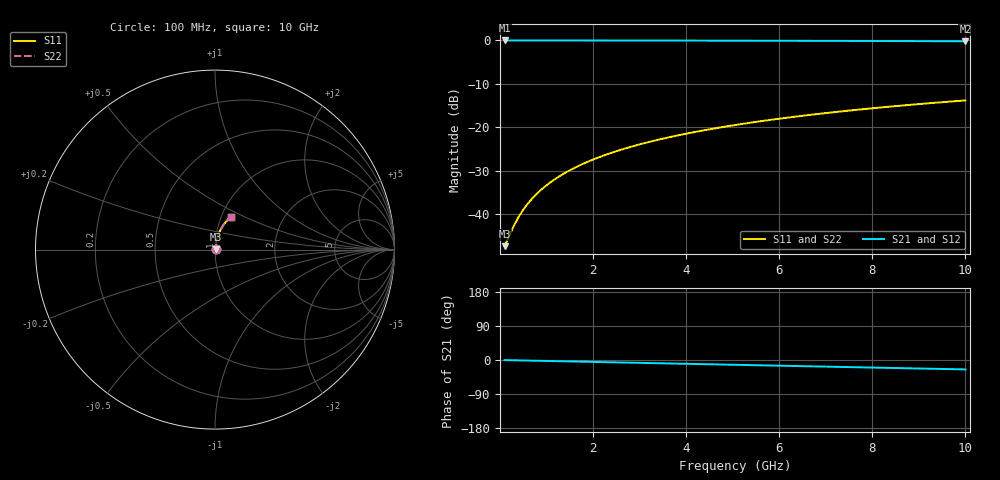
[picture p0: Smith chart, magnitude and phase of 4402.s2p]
# Hz S RI R 50.00
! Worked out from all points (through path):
!   100 points, 100 MHz to 10 GHz, reference 50 ohm
!   highest |S21| = -0.03 dB at 100 MHz (marker M1); lowest = -0.2 dB at 10 GHz (marker M2)
!   group delay of S21, straight-line fit = 6.91 ps
!   lowest |S11| = -47.3 dB at 100 MHz (marker M3), VSWR 1.01, Z = 50.4 + j0.213 ohm
!   |S11| at or under -10 dB: start of sweep to end of sweep
!   |S22| runs from -47.3 to -13.8 dB; largest |S21 - S12| = 0
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1e8  0.00377 0.00211  0.9962 -0.00437  0.9962 -0.00437  0.00377 0.00211
3e8  0.00388 0.00633  0.9961 -0.0131  0.9961 -0.0131  0.00388 0.00633
4e8  0.00396 0.00844  0.996 -0.0175  0.996 -0.0175  0.00396 0.00844
5e8  0.00406 0.0106  0.9959 -0.0218  0.9959 -0.0218  0.00406 0.0106
6e8  0.00417 0.0127  0.9957 -0.0262  0.9957 -0.0262  0.00417 0.0127
7e8  0.0043 0.0148  0.9956 -0.0305  0.9956 -0.0305  0.0043 0.0148
8e8  0.00445 0.0169  0.9954 -0.0349  0.9954 -0.0349  0.00445 0.0169
9e8  0.00461 0.019  0.9952 -0.0393  0.9952 -0.0393  0.00461 0.019
1e9  0.00479 0.0211  0.9949 -0.0436  0.9949 -0.0436  0.00479 0.0211
1.2e9  0.00521 0.0253  0.9944 -0.0523  0.9944 -0.0523  0.00521 0.0253
1.5e9  0.00598 0.0316  0.9934 -0.0654  0.9934 -0.0654  0.00598 0.0316
1.8e9  0.00691 0.0378  0.9922 -0.0784  0.9922 -0.0784  0.00691 0.0378
2.1e9  0.008 0.0441  0.9908 -0.0914  0.9908 -0.0914  0.008 0.0441
2.5e9  0.0097 0.0523  0.9887 -0.1087  0.9887 -0.1087  0.0097 0.0523
2.9e9  0.0117 0.0605  0.9861 -0.1259  0.9861 -0.1259  0.0117 0.0605
3.4e9  0.0146 0.0706  0.9824 -0.1473  0.9824 -0.1473  0.0146 0.0706
4.2e9  0.0201 0.0865  0.9753 -0.1812  0.9753 -0.1812  0.0201 0.0865
5.1e9  0.0276 0.1038  0.9656 -0.2189  0.9656 -0.2189  0.0276 0.1038
5.9e9  0.0353 0.1186  0.9556 -0.2518  0.9556 -0.2518  0.0353 0.1186
6.7e9  0.0441 0.1328  0.9442 -0.2841  0.9442 -0.2841  0.0441 0.1328
8.4e9  0.0657 0.1606  0.9159 -0.3505  0.9159 -0.3505  0.0657 0.1606
1e10  0.0893 0.1834  0.8846 -0.4096  0.8846 -0.4096  0.0893 0.1834
